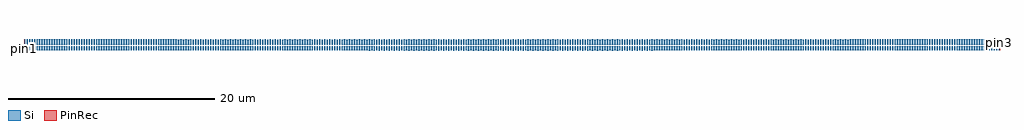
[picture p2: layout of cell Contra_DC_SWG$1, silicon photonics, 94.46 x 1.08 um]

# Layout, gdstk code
import gdstk
lib = gdstk.Library(unit=1e-6, precision=1e-09)
def R(c, l, rs):  # rectangles x0, y0, x1, y1
    for r in rs: c.add(gdstk.rectangle(r[:2], r[2:], *l))
def A(c, l, x, y, w, h, nx, ny, dx, dy):  # array of equal rectangles
    R(c, l, [(x+i*dx, y+j*dy, x+i*dx+w, y+j*dy+h) for i in range(nx) for j in range(ny)])
Si = (1, 0)
PinRec = (1, 10)

contra_dc_swg_1 = lib.new_cell('Contra_DC_SWG$1')
A(contra_dc_swg_1, Si, 42.9, -0.229, 0.12, 0.399, 18, 1, 0.48, 0)
A(contra_dc_swg_1, Si, 40.98, -0.228, 0.12, 0.399, 4, 1, 0.48, 0)
A(contra_dc_swg_1, Si, 51.54, -0.228, 0.12, 0.399, 4, 1, 0.48, 0)
A(contra_dc_swg_1, Si, 39.06, -0.227, 0.12, 0.399, 4, 1, 0.48, 0)
A(contra_dc_swg_1, Si, 53.46, -0.227, 0.12, 0.399, 4, 1, 0.48, 0)
A(contra_dc_swg_1, Si, 36.66, -0.225, 0.12, 0.399, 3, 1, 0.48, 0)
A(contra_dc_swg_1, Si, 56.34, -0.225, 0.12, 0.399, 3, 1, 0.48, 0)
A(contra_dc_swg_1, Si, 33.3, -0.222, 0.12, 0.399, 3, 1, 0.48, 0)
A(contra_dc_swg_1, Si, 59.7, -0.222, 0.12, 0.399, 3, 1, 0.48, 0)
A(contra_dc_swg_1, Si, 21.3, -0.21, 0.12, 0.399, 3, 1, 0.48, 0)
A(contra_dc_swg_1, Si, 71.7, -0.21, 0.12, 0.399, 3, 1, 0.48, 0)
A(contra_dc_swg_1, Si, 18.9, -0.208, 0.12, 0.399, 3, 1, 0.48, 0)
A(contra_dc_swg_1, Si, 74.1, -0.208, 0.12, 0.399, 3, 1, 0.48, 0)
A(contra_dc_swg_1, Si, 17.46, -0.207, 0.12, 0.399, 3, 1, 0.48, 0)
A(contra_dc_swg_1, Si, 75.54, -0.207, 0.12, 0.399, 3, 1, 0.48, 0)
A(contra_dc_swg_1, Si, 16.02, -0.206, 0.12, 0.399, 3, 1, 0.48, 0)
A(contra_dc_swg_1, Si, 76.98, -0.206, 0.12, 0.399, 3, 1, 0.48, 0)
A(contra_dc_swg_1, Si, 14.1, -0.205, 0.12, 0.399, 4, 1, 0.48, 0)
A(contra_dc_swg_1, Si, 78.42, -0.205, 0.12, 0.399, 4, 1, 0.48, 0)
A(contra_dc_swg_1, Si, 12.18, -0.204, 0.12, 0.399, 4, 1, 0.48, 0)
A(contra_dc_swg_1, Si, 80.34, -0.204, 0.12, 0.399, 4, 1, 0.48, 0)
A(contra_dc_swg_1, Si, 9.78, -0.203, 0.12, 0.399, 5, 1, 0.48, 0)
A(contra_dc_swg_1, Si, 82.26, -0.203, 0.12, 0.399, 5, 1, 0.48, 0)
A(contra_dc_swg_1, Si, 6.9, -0.202, 0.12, 0.399, 6, 1, 0.48, 0)
A(contra_dc_swg_1, Si, 84.66, -0.202, 0.12, 0.399, 6, 1, 0.48, 0)
A(contra_dc_swg_1, Si, 1.62, -0.201, 0.12, 0.399, 11, 1, 0.48, 0)
A(contra_dc_swg_1, Si, 87.54, -0.201, 0.12, 0.399, 11, 1, 0.48, 0)
A(contra_dc_swg_1, Si, -0.06, -0.2, 0.12, 0.4, 197, 1, 0.48, 0)
A(contra_dc_swg_1, Si, 0.18, -0.2, 0.12, 0.399, 3, 1, 0.48, 0)
A(contra_dc_swg_1, Si, 92.82, -0.2, 0.12, 0.399, 3, 1, 0.48, 0)
A(contra_dc_swg_1, Si, 43.62, 0.311, 0.12, 0.499, 16, 1, 0.48, 0)
A(contra_dc_swg_1, Si, 41.7, 0.312, 0.12, 0.499, 4, 1, 0.48, 0)
A(contra_dc_swg_1, Si, 51.3, 0.312, 0.12, 0.499, 4, 1, 0.48, 0)
A(contra_dc_swg_1, Si, 39.3, 0.314, 0.12, 0.499, 3, 1, 0.48, 0)
A(contra_dc_swg_1, Si, 54.18, 0.314, 0.12, 0.499, 3, 1, 0.48, 0)
A(contra_dc_swg_1, Si, 17.22, 0.341, 0.12, 0.499, 3, 1, 0.48, 0)
A(contra_dc_swg_1, Si, 76.26, 0.341, 0.12, 0.499, 3, 1, 0.48, 0)
A(contra_dc_swg_1, Si, 14.82, 0.343, 0.12, 0.499, 3, 1, 0.48, 0)
A(contra_dc_swg_1, Si, 78.66, 0.343, 0.12, 0.499, 3, 1, 0.48, 0)
A(contra_dc_swg_1, Si, 13.38, 0.344, 0.12, 0.499, 3, 1, 0.48, 0)
A(contra_dc_swg_1, Si, 80.1, 0.344, 0.12, 0.499, 3, 1, 0.48, 0)
A(contra_dc_swg_1, Si, 11.94, 0.345, 0.12, 0.499, 3, 1, 0.48, 0)
A(contra_dc_swg_1, Si, 81.54, 0.345, 0.12, 0.499, 3, 1, 0.48, 0)
A(contra_dc_swg_1, Si, 10.02, 0.346, 0.12, 0.499, 4, 1, 0.48, 0)
A(contra_dc_swg_1, Si, 82.98, 0.346, 0.12, 0.499, 4, 1, 0.48, 0)
A(contra_dc_swg_1, Si, 7.62, 0.347, 0.12, 0.499, 5, 1, 0.48, 0)
A(contra_dc_swg_1, Si, 84.9, 0.347, 0.12, 0.499, 5, 1, 0.48, 0)
A(contra_dc_swg_1, Si, 4.74, 0.348, 0.12, 0.499, 6, 1, 0.48, 0)
A(contra_dc_swg_1, Si, 87.3, 0.348, 0.12, 0.499, 6, 1, 0.48, 0)
A(contra_dc_swg_1, Si, -0.06, 0.349, 0.12, 0.499, 10, 1, 0.48, 0)
A(contra_dc_swg_1, Si, 90.18, 0.349, 0.12, 0.499, 9, 1, 0.48, 0)
A(contra_dc_swg_1, Si, 0.18, 0.35, 0.12, 0.5, 197, 1, 0.48, 0)
R(contra_dc_swg_1, Si, [(38.1,-0.226,38.22,0.173), (38.58,-0.226,38.7,0.173), (55.38,-0.226,55.5,0.173), (55.86,-0.226,55.98,0.173), (35.7,-0.224,35.82,0.175), (36.18,-0.224,36.3,0.175), (57.78,-0.224,57.9,0.175), (58.26,-0.224,58.38,0.175), (34.74,-0.223,34.86,0.176), (35.22,-0.223,35.34,0.176), (58.74,-0.223,58.86,0.176), (59.22,-0.223,59.34,0.176), (32.34,-0.221,32.46,0.178), (32.82,-0.221,32.94,0.178), (61.14,-0.221,61.26,0.178), (61.62,-0.221,61.74,0.178), (31.38,-0.22,31.5,0.179), (31.86,-0.22,31.98,0.179), (62.1,-0.22,62.22,0.179), (62.58,-0.22,62.7,0.179), (30.42,-0.219,30.54,0.18), (30.9,-0.219,31.02,0.18), (63.06,-0.219,63.18,0.18), (63.54,-0.219,63.66,0.18), (29.46,-0.218,29.58,0.181), (29.94,-0.218,30.06,0.181), (64.02,-0.218,64.14,0.181), (64.5,-0.218,64.62,0.181), (28.5,-0.217,28.62,0.182), (28.98,-0.217,29.1,0.182), (64.98,-0.217,65.1,0.182), (65.46,-0.217,65.58,0.182), (27.54,-0.216,27.66,0.183), (28.02,-0.216,28.14,0.183), (65.94,-0.216,66.06,0.183), (66.42,-0.216,66.54,0.183), (26.58,-0.215,26.7,0.184), (27.06,-0.215,27.18,0.184), (66.9,-0.215,67.02,0.184), (67.38,-0.215,67.5,0.184), (25.62,-0.214,25.74,0.185), (26.1,-0.214,26.22,0.185), (67.86,-0.214,67.98,0.185), (68.34,-0.214,68.46,0.185), (24.66,-0.213,24.78,0.186), (25.14,-0.213,25.26,0.186), (68.82,-0.213,68.94,0.186), (69.3,-0.213,69.42,0.186), (23.7,-0.212,23.82,0.187), (24.18,-0.212,24.3,0.187), (69.78,-0.212,69.9,0.187), (70.26,-0.212,70.38,0.187), (22.74,-0.211,22.86,0.188), (23.22,-0.211,23.34,0.188), (70.74,-0.211,70.86,0.188), (71.22,-0.211,71.34,0.188), (20.34,-0.209,20.46,0.19), (20.82,-0.209,20.94,0.19), (73.14,-0.209,73.26,0.19), (73.62,-0.209,73.74,0.19), (94.26,-0.2,94.38,0.2), (40.74,0.313,40.86,0.812), (41.22,0.313,41.34,0.812), (53.22,0.313,53.34,0.812), (53.7,0.313,53.82,0.812), (38.34,0.315,38.46,0.814), (38.82,0.315,38.94,0.814), (55.62,0.315,55.74,0.814), (56.1,0.315,56.22,0.814), (37.38,0.316,37.5,0.815), (37.86,0.316,37.98,0.815), (56.58,0.316,56.7,0.815), (57.06,0.316,57.18,0.815), (36.42,0.317,36.54,0.816), (36.9,0.317,37.02,0.816), (57.54,0.317,57.66,0.816), (58.02,0.317,58.14,0.816), (35.94,0.318,36.06,0.817), (58.5,0.318,58.62,0.817), (34.98,0.319,35.1,0.818), (35.46,0.319,35.58,0.818), (58.98,0.319,59.1,0.818), (59.46,0.319,59.58,0.818), (34.02,0.32,34.14,0.819), (34.5,0.32,34.62,0.819), (59.94,0.32,60.06,0.819), (60.42,0.32,60.54,0.819), (33.54,0.321,33.66,0.82), (60.9,0.321,61.02,0.82), (32.58,0.322,32.7,0.821), (33.06,0.322,33.18,0.821), (61.38,0.322,61.5,0.821), (61.86,0.322,61.98,0.821), (32.1,0.323,32.22,0.822), (62.34,0.323,62.46,0.822), (31.14,0.324,31.26,0.823), (31.62,0.324,31.74,0.823), (62.82,0.324,62.94,0.823), (63.3,0.324,63.42,0.823), (30.66,0.325,30.78,0.824), (63.78,0.325,63.9,0.824), (29.7,0.326,29.82,0.825), (30.18,0.326,30.3,0.825), (64.26,0.326,64.38,0.825), (64.74,0.326,64.86,0.825), (29.22,0.327,29.34,0.826), (65.22,0.327,65.34,0.826), (28.26,0.328,28.38,0.827), (28.74,0.328,28.86,0.827), (65.7,0.328,65.82,0.827), (66.18,0.328,66.3,0.827), (27.78,0.329,27.9,0.828), (66.66,0.329,66.78,0.828), (26.82,0.33,26.94,0.829), (27.3,0.33,27.42,0.829), (67.14,0.33,67.26,0.829), (67.62,0.33,67.74,0.829), (26.34,0.331,26.46,0.83), (68.1,0.331,68.22,0.83), (25.38,0.332,25.5,0.831), (25.86,0.332,25.98,0.831), (68.58,0.332,68.7,0.831), (69.06,0.332,69.18,0.831), (24.9,0.333,25.02,0.832), (69.54,0.333,69.66,0.832), (23.94,0.334,24.06,0.833), (24.42,0.334,24.54,0.833), (70.02,0.334,70.14,0.833), (70.5,0.334,70.62,0.833), (22.98,0.335,23.1,0.834), (23.46,0.335,23.58,0.834), (70.98,0.335,71.1,0.834), (71.46,0.335,71.58,0.834), (22.02,0.336,22.14,0.835), (22.5,0.336,22.62,0.835), (71.94,0.336,72.06,0.835), (72.42,0.336,72.54,0.835), (21.54,0.337,21.66,0.836), (72.9,0.337,73.02,0.836), (20.58,0.338,20.7,0.837), (21.06,0.338,21.18,0.837), (73.38,0.338,73.5,0.837), (73.86,0.338,73.98,0.837), (19.62,0.339,19.74,0.838), (20.1,0.339,20.22,0.838), (74.34,0.339,74.46,0.838), (74.82,0.339,74.94,0.838), (18.66,0.34,18.78,0.839), (19.14,0.34,19.26,0.839), (75.3,0.34,75.42,0.839), (75.78,0.34,75.9,0.839), (16.26,0.342,16.38,0.841), (16.74,0.342,16.86,0.841), (77.7,0.342,77.82,0.841), (78.18,0.342,78.3,0.841)])
contra_dc_swg_1.add(gdstk.FlexPath([(-0.05,0),(-0.07,0)], 0.4, ends="flush", simple_path=True, layer=1, datatype=10))  # PinRec
contra_dc_swg_1.add(gdstk.FlexPath([(-0.05,0.599),(-0.07,0.599)], 0.5, ends="flush", simple_path=True, layer=1, datatype=10))  # PinRec
contra_dc_swg_1.add(gdstk.FlexPath([(94.37,0.599),(94.39,0.599)], 0.5, ends="flush", simple_path=True, layer=1, datatype=10))  # PinRec
contra_dc_swg_1.add(gdstk.FlexPath([(94.37,0),(94.39,0)], 0.4, ends="flush", simple_path=True, layer=1, datatype=10))  # PinRec
contra_dc_swg_1.add(gdstk.Label('pin1', (-0.06,0), layer=1, texttype=10))
contra_dc_swg_1.add(gdstk.Label('pin2', (-0.06,0.599), layer=1, texttype=10))
contra_dc_swg_1.add(gdstk.Label('pin3', (94.38,0.599), layer=1, texttype=10))
contra_dc_swg_1.add(gdstk.Label('pin4', (94.38,0), layer=1, texttype=10))

lib.write_gds('Contra_DC_SWG_1.gds')
